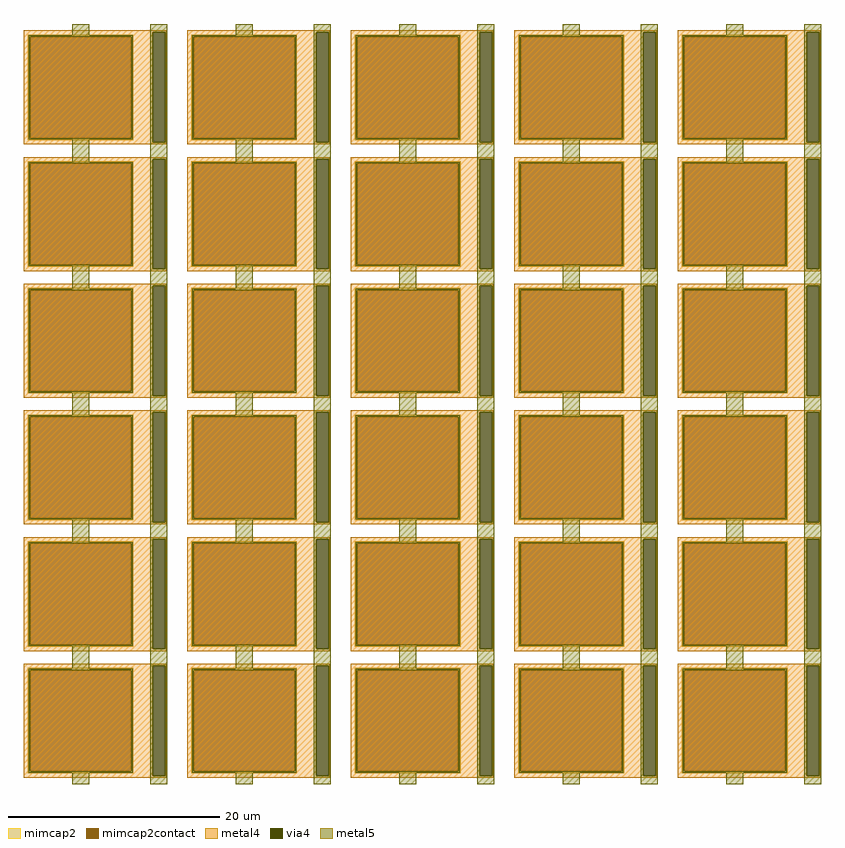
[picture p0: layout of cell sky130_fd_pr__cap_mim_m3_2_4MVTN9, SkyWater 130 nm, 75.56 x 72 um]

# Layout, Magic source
magic
tech sky130A
magscale 1 2
<< metal4 >>
rect -7545 7039 -4847 7080
rect -7545 4961 -5103 7039
rect -4867 4961 -4847 7039
rect -7545 4920 -4847 4961
rect -4447 7039 -1749 7080
rect -4447 4961 -2005 7039
rect -1769 4961 -1749 7039
rect -4447 4920 -1749 4961
rect -1349 7039 1349 7080
rect -1349 4961 1093 7039
rect 1329 4961 1349 7039
rect -1349 4920 1349 4961
rect 1749 7039 4447 7080
rect 1749 4961 4191 7039
rect 4427 4961 4447 7039
rect 1749 4920 4447 4961
rect 4847 7039 7545 7080
rect 4847 4961 7289 7039
rect 7525 4961 7545 7039
rect 4847 4920 7545 4961
rect -7545 4639 -4847 4680
rect -7545 2561 -5103 4639
rect -4867 2561 -4847 4639
rect -7545 2520 -4847 2561
rect -4447 4639 -1749 4680
rect -4447 2561 -2005 4639
rect -1769 2561 -1749 4639
rect -4447 2520 -1749 2561
rect -1349 4639 1349 4680
rect -1349 2561 1093 4639
rect 1329 2561 1349 4639
rect -1349 2520 1349 2561
rect 1749 4639 4447 4680
rect 1749 2561 4191 4639
rect 4427 2561 4447 4639
rect 1749 2520 4447 2561
rect 4847 4639 7545 4680
rect 4847 2561 7289 4639
rect 7525 2561 7545 4639
rect 4847 2520 7545 2561
rect -7545 2239 -4847 2280
rect -7545 161 -5103 2239
rect -4867 161 -4847 2239
rect -7545 120 -4847 161
rect -4447 2239 -1749 2280
rect -4447 161 -2005 2239
rect -1769 161 -1749 2239
rect -4447 120 -1749 161
rect -1349 2239 1349 2280
rect -1349 161 1093 2239
rect 1329 161 1349 2239
rect -1349 120 1349 161
rect 1749 2239 4447 2280
rect 1749 161 4191 2239
rect 4427 161 4447 2239
rect 1749 120 4447 161
rect 4847 2239 7545 2280
rect 4847 161 7289 2239
rect 7525 161 7545 2239
rect 4847 120 7545 161
rect -7545 -161 -4847 -120
rect -7545 -2239 -5103 -161
rect -4867 -2239 -4847 -161
rect -7545 -2280 -4847 -2239
rect -4447 -161 -1749 -120
rect -4447 -2239 -2005 -161
rect -1769 -2239 -1749 -161
rect -4447 -2280 -1749 -2239
rect -1349 -161 1349 -120
rect -1349 -2239 1093 -161
rect 1329 -2239 1349 -161
rect -1349 -2280 1349 -2239
rect 1749 -161 4447 -120
rect 1749 -2239 4191 -161
rect 4427 -2239 4447 -161
rect 1749 -2280 4447 -2239
rect 4847 -161 7545 -120
rect 4847 -2239 7289 -161
rect 7525 -2239 7545 -161
rect 4847 -2280 7545 -2239
rect -7545 -2561 -4847 -2520
rect -7545 -4639 -5103 -2561
rect -4867 -4639 -4847 -2561
rect -7545 -4680 -4847 -4639
rect -4447 -2561 -1749 -2520
rect -4447 -4639 -2005 -2561
rect -1769 -4639 -1749 -2561
rect -4447 -4680 -1749 -4639
rect -1349 -2561 1349 -2520
rect -1349 -4639 1093 -2561
rect 1329 -4639 1349 -2561
rect -1349 -4680 1349 -4639
rect 1749 -2561 4447 -2520
rect 1749 -4639 4191 -2561
rect 4427 -4639 4447 -2561
rect 1749 -4680 4447 -4639
rect 4847 -2561 7545 -2520
rect 4847 -4639 7289 -2561
rect 7525 -4639 7545 -2561
rect 4847 -4680 7545 -4639
rect -7545 -4961 -4847 -4920
rect -7545 -7039 -5103 -4961
rect -4867 -7039 -4847 -4961
rect -7545 -7080 -4847 -7039
rect -4447 -4961 -1749 -4920
rect -4447 -7039 -2005 -4961
rect -1769 -7039 -1749 -4961
rect -4447 -7080 -1749 -7039
rect -1349 -4961 1349 -4920
rect -1349 -7039 1093 -4961
rect 1329 -7039 1349 -4961
rect -1349 -7080 1349 -7039
rect 1749 -4961 4447 -4920
rect 1749 -7039 4191 -4961
rect 4427 -7039 4447 -4961
rect 1749 -7080 4447 -7039
rect 4847 -4961 7545 -4920
rect 4847 -7039 7289 -4961
rect 7525 -7039 7545 -4961
rect 4847 -7080 7545 -7039
<< via4 >>
rect -5103 4961 -4867 7039
rect -2005 4961 -1769 7039
rect 1093 4961 1329 7039
rect 4191 4961 4427 7039
rect 7289 4961 7525 7039
rect -5103 2561 -4867 4639
rect -2005 2561 -1769 4639
rect 1093 2561 1329 4639
rect 4191 2561 4427 4639
rect 7289 2561 7525 4639
rect -5103 161 -4867 2239
rect -2005 161 -1769 2239
rect 1093 161 1329 2239
rect 4191 161 4427 2239
rect 7289 161 7525 2239
rect -5103 -2239 -4867 -161
rect -2005 -2239 -1769 -161
rect 1093 -2239 1329 -161
rect 4191 -2239 4427 -161
rect 7289 -2239 7525 -161
rect -5103 -4639 -4867 -2561
rect -2005 -4639 -1769 -2561
rect 1093 -4639 1329 -2561
rect 4191 -4639 4427 -2561
rect 7289 -4639 7525 -2561
rect -5103 -7039 -4867 -4961
rect -2005 -7039 -1769 -4961
rect 1093 -7039 1329 -4961
rect 4191 -7039 4427 -4961
rect 7289 -7039 7525 -4961
<< mimcap2 >>
rect -7465 6960 -5465 7000
rect -7465 5040 -7425 6960
rect -5505 5040 -5465 6960
rect -7465 5000 -5465 5040
rect -4367 6960 -2367 7000
rect -4367 5040 -4327 6960
rect -2407 5040 -2367 6960
rect -4367 5000 -2367 5040
rect -1269 6960 731 7000
rect -1269 5040 -1229 6960
rect 691 5040 731 6960
rect -1269 5000 731 5040
rect 1829 6960 3829 7000
rect 1829 5040 1869 6960
rect 3789 5040 3829 6960
rect 1829 5000 3829 5040
rect 4927 6960 6927 7000
rect 4927 5040 4967 6960
rect 6887 5040 6927 6960
rect 4927 5000 6927 5040
rect -7465 4560 -5465 4600
rect -7465 2640 -7425 4560
rect -5505 2640 -5465 4560
rect -7465 2600 -5465 2640
rect -4367 4560 -2367 4600
rect -4367 2640 -4327 4560
rect -2407 2640 -2367 4560
rect -4367 2600 -2367 2640
rect -1269 4560 731 4600
rect -1269 2640 -1229 4560
rect 691 2640 731 4560
rect -1269 2600 731 2640
rect 1829 4560 3829 4600
rect 1829 2640 1869 4560
rect 3789 2640 3829 4560
rect 1829 2600 3829 2640
rect 4927 4560 6927 4600
rect 4927 2640 4967 4560
rect 6887 2640 6927 4560
rect 4927 2600 6927 2640
rect -7465 2160 -5465 2200
rect -7465 240 -7425 2160
rect -5505 240 -5465 2160
rect -7465 200 -5465 240
rect -4367 2160 -2367 2200
rect -4367 240 -4327 2160
rect -2407 240 -2367 2160
rect -4367 200 -2367 240
rect -1269 2160 731 2200
rect -1269 240 -1229 2160
rect 691 240 731 2160
rect -1269 200 731 240
rect 1829 2160 3829 2200
rect 1829 240 1869 2160
rect 3789 240 3829 2160
rect 1829 200 3829 240
rect 4927 2160 6927 2200
rect 4927 240 4967 2160
rect 6887 240 6927 2160
rect 4927 200 6927 240
rect -7465 -240 -5465 -200
rect -7465 -2160 -7425 -240
rect -5505 -2160 -5465 -240
rect -7465 -2200 -5465 -2160
rect -4367 -240 -2367 -200
rect -4367 -2160 -4327 -240
rect -2407 -2160 -2367 -240
rect -4367 -2200 -2367 -2160
rect -1269 -240 731 -200
rect -1269 -2160 -1229 -240
rect 691 -2160 731 -240
rect -1269 -2200 731 -2160
rect 1829 -240 3829 -200
rect 1829 -2160 1869 -240
rect 3789 -2160 3829 -240
rect 1829 -2200 3829 -2160
rect 4927 -240 6927 -200
rect 4927 -2160 4967 -240
rect 6887 -2160 6927 -240
rect 4927 -2200 6927 -2160
rect -7465 -2640 -5465 -2600
rect -7465 -4560 -7425 -2640
rect -5505 -4560 -5465 -2640
rect -7465 -4600 -5465 -4560
rect -4367 -2640 -2367 -2600
rect -4367 -4560 -4327 -2640
rect -2407 -4560 -2367 -2640
rect -4367 -4600 -2367 -4560
rect -1269 -2640 731 -2600
rect -1269 -4560 -1229 -2640
rect 691 -4560 731 -2640
rect -1269 -4600 731 -4560
rect 1829 -2640 3829 -2600
rect 1829 -4560 1869 -2640
rect 3789 -4560 3829 -2640
rect 1829 -4600 3829 -4560
rect 4927 -2640 6927 -2600
rect 4927 -4560 4967 -2640
rect 6887 -4560 6927 -2640
rect 4927 -4600 6927 -4560
rect -7465 -5040 -5465 -5000
rect -7465 -6960 -7425 -5040
rect -5505 -6960 -5465 -5040
rect -7465 -7000 -5465 -6960
rect -4367 -5040 -2367 -5000
rect -4367 -6960 -4327 -5040
rect -2407 -6960 -2367 -5040
rect -4367 -7000 -2367 -6960
rect -1269 -5040 731 -5000
rect -1269 -6960 -1229 -5040
rect 691 -6960 731 -5040
rect -1269 -7000 731 -6960
rect 1829 -5040 3829 -5000
rect 1829 -6960 1869 -5040
rect 3789 -6960 3829 -5040
rect 1829 -7000 3829 -6960
rect 4927 -5040 6927 -5000
rect 4927 -6960 4967 -5040
rect 6887 -6960 6927 -5040
rect 4927 -7000 6927 -6960
<< mimcap2contact >>
rect -7425 5040 -5505 6960
rect -4327 5040 -2407 6960
rect -1229 5040 691 6960
rect 1869 5040 3789 6960
rect 4967 5040 6887 6960
rect -7425 2640 -5505 4560
rect -4327 2640 -2407 4560
rect -1229 2640 691 4560
rect 1869 2640 3789 4560
rect 4967 2640 6887 4560
rect -7425 240 -5505 2160
rect -4327 240 -2407 2160
rect -1229 240 691 2160
rect 1869 240 3789 2160
rect 4967 240 6887 2160
rect -7425 -2160 -5505 -240
rect -4327 -2160 -2407 -240
rect -1229 -2160 691 -240
rect 1869 -2160 3789 -240
rect 4967 -2160 6887 -240
rect -7425 -4560 -5505 -2640
rect -4327 -4560 -2407 -2640
rect -1229 -4560 691 -2640
rect 1869 -4560 3789 -2640
rect 4967 -4560 6887 -2640
rect -7425 -6960 -5505 -5040
rect -4327 -6960 -2407 -5040
rect -1229 -6960 691 -5040
rect 1869 -6960 3789 -5040
rect 4967 -6960 6887 -5040
<< metal5 >>
rect -6625 6984 -6305 7200
rect -5145 7039 -4825 7200
rect -7449 6960 -5481 6984
rect -7449 5040 -7425 6960
rect -5505 5040 -5481 6960
rect -7449 5016 -5481 5040
rect -6625 4584 -6305 5016
rect -5145 4961 -5103 7039
rect -4867 4961 -4825 7039
rect -3527 6984 -3207 7200
rect -2047 7039 -1727 7200
rect -4351 6960 -2383 6984
rect -4351 5040 -4327 6960
rect -2407 5040 -2383 6960
rect -4351 5016 -2383 5040
rect -5145 4639 -4825 4961
rect -7449 4560 -5481 4584
rect -7449 2640 -7425 4560
rect -5505 2640 -5481 4560
rect -7449 2616 -5481 2640
rect -6625 2184 -6305 2616
rect -5145 2561 -5103 4639
rect -4867 2561 -4825 4639
rect -3527 4584 -3207 5016
rect -2047 4961 -2005 7039
rect -1769 4961 -1727 7039
rect -429 6984 -109 7200
rect 1051 7039 1371 7200
rect -1253 6960 715 6984
rect -1253 5040 -1229 6960
rect 691 5040 715 6960
rect -1253 5016 715 5040
rect -2047 4639 -1727 4961
rect -4351 4560 -2383 4584
rect -4351 2640 -4327 4560
rect -2407 2640 -2383 4560
rect -4351 2616 -2383 2640
rect -5145 2239 -4825 2561
rect -7449 2160 -5481 2184
rect -7449 240 -7425 2160
rect -5505 240 -5481 2160
rect -7449 216 -5481 240
rect -6625 -216 -6305 216
rect -5145 161 -5103 2239
rect -4867 161 -4825 2239
rect -3527 2184 -3207 2616
rect -2047 2561 -2005 4639
rect -1769 2561 -1727 4639
rect -429 4584 -109 5016
rect 1051 4961 1093 7039
rect 1329 4961 1371 7039
rect 2669 6984 2989 7200
rect 4149 7039 4469 7200
rect 1845 6960 3813 6984
rect 1845 5040 1869 6960
rect 3789 5040 3813 6960
rect 1845 5016 3813 5040
rect 1051 4639 1371 4961
rect -1253 4560 715 4584
rect -1253 2640 -1229 4560
rect 691 2640 715 4560
rect -1253 2616 715 2640
rect -2047 2239 -1727 2561
rect -4351 2160 -2383 2184
rect -4351 240 -4327 2160
rect -2407 240 -2383 2160
rect -4351 216 -2383 240
rect -5145 -161 -4825 161
rect -7449 -240 -5481 -216
rect -7449 -2160 -7425 -240
rect -5505 -2160 -5481 -240
rect -7449 -2184 -5481 -2160
rect -6625 -2616 -6305 -2184
rect -5145 -2239 -5103 -161
rect -4867 -2239 -4825 -161
rect -3527 -216 -3207 216
rect -2047 161 -2005 2239
rect -1769 161 -1727 2239
rect -429 2184 -109 2616
rect 1051 2561 1093 4639
rect 1329 2561 1371 4639
rect 2669 4584 2989 5016
rect 4149 4961 4191 7039
rect 4427 4961 4469 7039
rect 5767 6984 6087 7200
rect 7247 7039 7567 7200
rect 4943 6960 6911 6984
rect 4943 5040 4967 6960
rect 6887 5040 6911 6960
rect 4943 5016 6911 5040
rect 4149 4639 4469 4961
rect 1845 4560 3813 4584
rect 1845 2640 1869 4560
rect 3789 2640 3813 4560
rect 1845 2616 3813 2640
rect 1051 2239 1371 2561
rect -1253 2160 715 2184
rect -1253 240 -1229 2160
rect 691 240 715 2160
rect -1253 216 715 240
rect -2047 -161 -1727 161
rect -4351 -240 -2383 -216
rect -4351 -2160 -4327 -240
rect -2407 -2160 -2383 -240
rect -4351 -2184 -2383 -2160
rect -5145 -2561 -4825 -2239
rect -7449 -2640 -5481 -2616
rect -7449 -4560 -7425 -2640
rect -5505 -4560 -5481 -2640
rect -7449 -4584 -5481 -4560
rect -6625 -5016 -6305 -4584
rect -5145 -4639 -5103 -2561
rect -4867 -4639 -4825 -2561
rect -3527 -2616 -3207 -2184
rect -2047 -2239 -2005 -161
rect -1769 -2239 -1727 -161
rect -429 -216 -109 216
rect 1051 161 1093 2239
rect 1329 161 1371 2239
rect 2669 2184 2989 2616
rect 4149 2561 4191 4639
rect 4427 2561 4469 4639
rect 5767 4584 6087 5016
rect 7247 4961 7289 7039
rect 7525 4961 7567 7039
rect 7247 4639 7567 4961
rect 4943 4560 6911 4584
rect 4943 2640 4967 4560
rect 6887 2640 6911 4560
rect 4943 2616 6911 2640
rect 4149 2239 4469 2561
rect 1845 2160 3813 2184
rect 1845 240 1869 2160
rect 3789 240 3813 2160
rect 1845 216 3813 240
rect 1051 -161 1371 161
rect -1253 -240 715 -216
rect -1253 -2160 -1229 -240
rect 691 -2160 715 -240
rect -1253 -2184 715 -2160
rect -2047 -2561 -1727 -2239
rect -4351 -2640 -2383 -2616
rect -4351 -4560 -4327 -2640
rect -2407 -4560 -2383 -2640
rect -4351 -4584 -2383 -4560
rect -5145 -4961 -4825 -4639
rect -7449 -5040 -5481 -5016
rect -7449 -6960 -7425 -5040
rect -5505 -6960 -5481 -5040
rect -7449 -6984 -5481 -6960
rect -6625 -7200 -6305 -6984
rect -5145 -7039 -5103 -4961
rect -4867 -7039 -4825 -4961
rect -3527 -5016 -3207 -4584
rect -2047 -4639 -2005 -2561
rect -1769 -4639 -1727 -2561
rect -429 -2616 -109 -2184
rect 1051 -2239 1093 -161
rect 1329 -2239 1371 -161
rect 2669 -216 2989 216
rect 4149 161 4191 2239
rect 4427 161 4469 2239
rect 5767 2184 6087 2616
rect 7247 2561 7289 4639
rect 7525 2561 7567 4639
rect 7247 2239 7567 2561
rect 4943 2160 6911 2184
rect 4943 240 4967 2160
rect 6887 240 6911 2160
rect 4943 216 6911 240
rect 4149 -161 4469 161
rect 1845 -240 3813 -216
rect 1845 -2160 1869 -240
rect 3789 -2160 3813 -240
rect 1845 -2184 3813 -2160
rect 1051 -2561 1371 -2239
rect -1253 -2640 715 -2616
rect -1253 -4560 -1229 -2640
rect 691 -4560 715 -2640
rect -1253 -4584 715 -4560
rect -2047 -4961 -1727 -4639
rect -4351 -5040 -2383 -5016
rect -4351 -6960 -4327 -5040
rect -2407 -6960 -2383 -5040
rect -4351 -6984 -2383 -6960
rect -5145 -7200 -4825 -7039
rect -3527 -7200 -3207 -6984
rect -2047 -7039 -2005 -4961
rect -1769 -7039 -1727 -4961
rect -429 -5016 -109 -4584
rect 1051 -4639 1093 -2561
rect 1329 -4639 1371 -2561
rect 2669 -2616 2989 -2184
rect 4149 -2239 4191 -161
rect 4427 -2239 4469 -161
rect 5767 -216 6087 216
rect 7247 161 7289 2239
rect 7525 161 7567 2239
rect 7247 -161 7567 161
rect 4943 -240 6911 -216
rect 4943 -2160 4967 -240
rect 6887 -2160 6911 -240
rect 4943 -2184 6911 -2160
rect 4149 -2561 4469 -2239
rect 1845 -2640 3813 -2616
rect 1845 -4560 1869 -2640
rect 3789 -4560 3813 -2640
rect 1845 -4584 3813 -4560
rect 1051 -4961 1371 -4639
rect -1253 -5040 715 -5016
rect -1253 -6960 -1229 -5040
rect 691 -6960 715 -5040
rect -1253 -6984 715 -6960
rect -2047 -7200 -1727 -7039
rect -429 -7200 -109 -6984
rect 1051 -7039 1093 -4961
rect 1329 -7039 1371 -4961
rect 2669 -5016 2989 -4584
rect 4149 -4639 4191 -2561
rect 4427 -4639 4469 -2561
rect 5767 -2616 6087 -2184
rect 7247 -2239 7289 -161
rect 7525 -2239 7567 -161
rect 7247 -2561 7567 -2239
rect 4943 -2640 6911 -2616
rect 4943 -4560 4967 -2640
rect 6887 -4560 6911 -2640
rect 4943 -4584 6911 -4560
rect 4149 -4961 4469 -4639
rect 1845 -5040 3813 -5016
rect 1845 -6960 1869 -5040
rect 3789 -6960 3813 -5040
rect 1845 -6984 3813 -6960
rect 1051 -7200 1371 -7039
rect 2669 -7200 2989 -6984
rect 4149 -7039 4191 -4961
rect 4427 -7039 4469 -4961
rect 5767 -5016 6087 -4584
rect 7247 -4639 7289 -2561
rect 7525 -4639 7567 -2561
rect 7247 -4961 7567 -4639
rect 4943 -5040 6911 -5016
rect 4943 -6960 4967 -5040
rect 6887 -6960 6911 -5040
rect 4943 -6984 6911 -6960
rect 4149 -7200 4469 -7039
rect 5767 -7200 6087 -6984
rect 7247 -7039 7289 -4961
rect 7525 -7039 7567 -4961
rect 7247 -7200 7567 -7039
<< properties >>
string FIXED_BBOX 4847 4920 7007 7080
string gencell sky130_fd_pr__cap_mim_m3_2
string library sky130
string parameters w 10.0 l 10.0 val 207.6 carea 2.00 cperi 0.19 nx 5 ny 6 dummy 0 square 0 lmin 2.00 wmin 2.00 lmax 30.0 wmax 30.0 dc 0 bconnect 1 tconnect 1 ccov 100
<< end >>
